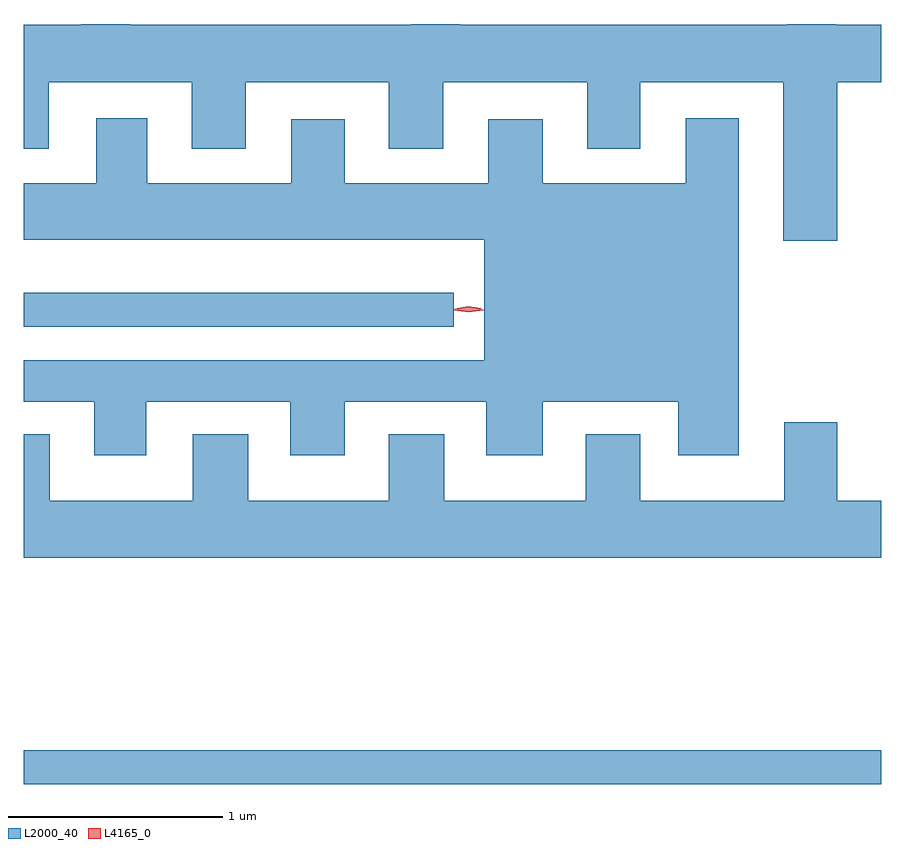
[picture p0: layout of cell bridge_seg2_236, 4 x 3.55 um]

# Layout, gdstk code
import gdstk
lib = gdstk.Library(unit=1e-6, precision=1e-09)
def R(c, l, rs):  # rectangles x0, y0, x1, y1
    for r in rs: c.add(gdstk.rectangle(r[:2], r[2:], *l))
def P(c, l, *ps):  # polygons
    for p in ps: c.add(gdstk.Polygon(p, *l))
L2000_40 = (2000, 40)
L4165_0 = (4165, 0)

bridge_seg2_236 = lib.new_cell('bridge_seg2_236')
R(bridge_seg2_236, L2000_40, [(603.353,1045.041,607.353,1045.199), (603.353,1047.176,605.358,1047.334)])
P(bridge_seg2_236, L2000_40, [(607.149,1048.316),(607.353,1048.316),(607.353,1048.584),(607.144,1048.584),(607.144,1048.588),(606.916,1048.588),(606.916,1048.584),(605.389,1048.584),(605.389,1048.588),(605.161,1048.588),(605.161,1048.584),(603.849,1048.584),(603.849,1048.588),(603.621,1048.588),(603.621,1048.584),(603.353,1048.584),(603.353,1048.006),(603.469,1048.006),(603.469,1048.316),(604.136,1048.316),(604.136,1048.006),(604.389,1048.006),(604.389,1048.316),(605.056,1048.316),(605.056,1048.006),(605.309,1048.006),(605.309,1048.316),(605.981,1048.316),(605.981,1048.006),(606.229,1048.006),(606.229,1048.316),(606.896,1048.316),(606.896,1047.576),(607.149,1047.576)],
  [(603.924,1046.826),(604.596,1046.826),(604.596,1046.576),(604.849,1046.576),(604.849,1046.826),(605.511,1046.826),(605.511,1046.576),(605.774,1046.576),(605.774,1046.826),(606.406,1046.826),(606.406,1046.576),(606.689,1046.576),(606.689,1048.149),(606.441,1048.149),(606.441,1047.844),(605.774,1047.844),(605.774,1048.144),(605.521,1048.144),(605.521,1047.844),(604.849,1047.844),(604.849,1048.144),(604.601,1048.144),(604.601,1047.844),(603.929,1047.844),(603.929,1048.149),(603.691,1048.149),(603.691,1047.844),(603.353,1047.844),(603.353,1047.581),(605.501,1047.581),(605.501,1047.019),(603.353,1047.019),(603.353,1046.826),(603.681,1046.826),(603.681,1046.576),(603.924,1046.576)],
  [(607.353,1046.364),(607.149,1046.364),(607.149,1046.729),(606.901,1046.729),(606.901,1046.364),(606.229,1046.364),(606.229,1046.674),(605.976,1046.674),(605.976,1046.364),(605.314,1046.364),(605.314,1046.674),(605.056,1046.674),(605.056,1046.364),(604.399,1046.364),(604.399,1046.674),(604.141,1046.674),(604.141,1046.364),(603.474,1046.364),(603.474,1046.674),(603.353,1046.674),(603.353,1046.096),(607.353,1046.096)])
P(bridge_seg2_236, L4165_0, [(605.426,1047.25),(605.364,1047.259),(605.363,1047.26),(605.364,1047.26),(605.426,1047.27),(605.488,1047.261),(605.488,1047.26),(605.488,1047.26)],
  [(605.429,1047.243),(605.36,1047.253),(605.36,1047.253),(605.36,1047.254),(605.429,1047.263),(605.497,1047.254),(605.498,1047.253),(605.497,1047.253)])

lib.write_gds('bridge_seg2_236.gds')
